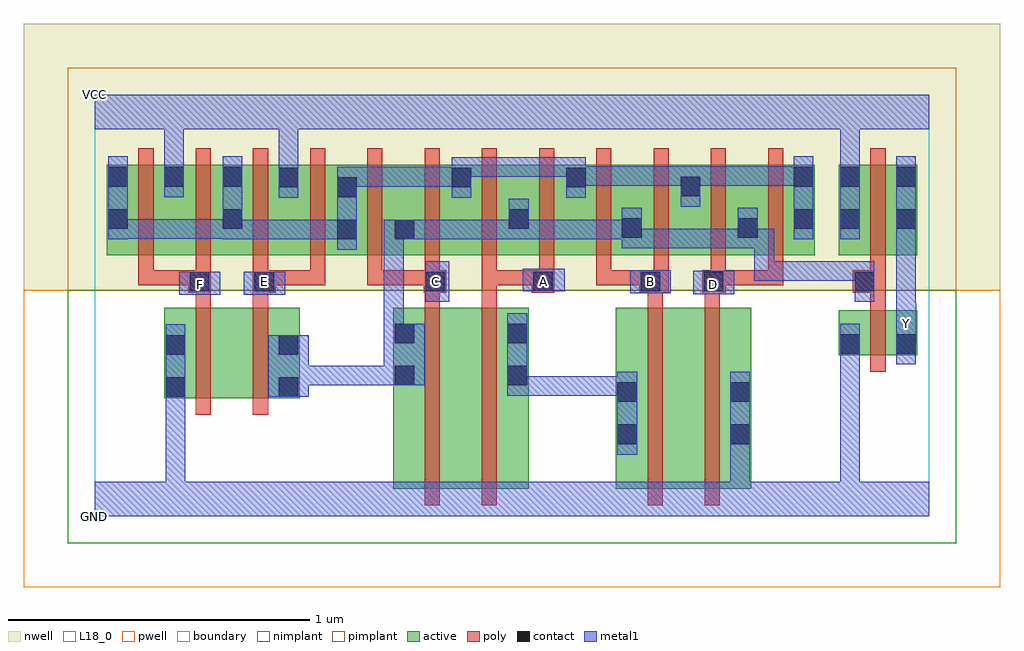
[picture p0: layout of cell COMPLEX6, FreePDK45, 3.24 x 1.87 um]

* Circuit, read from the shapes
.subckt COMPLEX6 A B C D E F GND VCC Y
M1 n1 F GND VSUBS nfet w=0.3u l=0.05u
M2 n2 E n1 VSUBS nfet w=0.3u l=0.05u
M3 n3 C n2 VSUBS nfet w=0.6u l=0.05u
M4 n4 A n3 VSUBS nfet w=0.6u l=0.05u
M5 n5 B n4 VSUBS nfet w=0.6u l=0.05u
M6 GND D n5 VSUBS nfet w=0.6u l=0.05u
M7 Y n2 GND VSUBS nfet w=0.15u l=0.05u
M8 VCC F n6 n7 pfet w=0.3u l=0.05u m=2
M9 VCC E n6 n7 pfet w=0.3u l=0.05u m=2
M10 n2 C n6 n7 pfet w=0.3u l=0.05u m=2
M11 n2 A n6 n7 pfet w=0.3u l=0.05u m=2
M12 n2 B n6 n7 pfet w=0.3u l=0.05u m=2
M13 n2 D n6 n7 pfet w=0.3u l=0.05u m=2
M14 Y n2 VCC n7 pfet w=0.3u l=0.05u
.ends

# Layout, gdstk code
import gdstk
lib = gdstk.Library(unit=1e-6, precision=1e-09)
def R(c, l, rs):  # rectangles x0, y0, x1, y1
    for r in rs: c.add(gdstk.rectangle(r[:2], r[2:], *l))
def A(c, l, x, y, w, h, nx, ny, dx, dy):  # array of equal rectangles
    R(c, l, [(x+i*dx, y+j*dy, x+i*dx+w, y+j*dy+h) for i in range(nx) for j in range(ny)])
active = (1, 0)
pwell = (2, 0)
nwell = (3, 0)
nimplant = (4, 0)
pimplant = (5, 0)
poly = (9, 0)
contact = (10, 0)
metal1 = (11, 0)
L18_0 = (18, 0)
boundary = (235, 0)

complex6 = lib.new_cell('COMPLEX6')
A(complex6, active, 0.8, 0.867, 0.265, 0.3, 4, 1, 0.19, 0)
R(complex6, active, [(0.99,0.092,1.215,0.692), (1.215,0.092,1.44,0.692), (1.73,0.092,1.955,0.692), (1.955,0.092,2.18,0.692), (2.105,0.092,2.18,0.692), (0.99,0.095,1.095,0.692), (1.365,0.095,1.44,0.692), (1.73,0.095,1.835,0.692), (0.23,0.392,0.305,0.692), (0.23,0.392,0.455,0.692), (0.455,0.392,0.68,0.692), (0.605,0.392,0.68,0.692), (2.47,0.535,2.545,0.685), (2.47,0.535,2.73,0.685), (2.655,0.535,2.73,0.685), (0.04,0.867,0.115,1.167), (0.04,0.867,0.3,1.167), (0.225,0.867,0.3,1.167), (0.225,0.867,0.495,1.167), (0.42,0.867,0.495,1.167), (0.42,0.867,0.68,1.167), (0.605,0.867,0.68,1.167), (0.605,0.867,0.875,1.167), (0.8,0.867,0.875,1.167), (1.56,0.867,1.635,1.167), (1.56,0.867,1.82,1.167), (1.745,0.867,2.015,1.167), (1.94,0.867,2.205,1.167), (2.13,0.867,2.39,1.167), (2.315,0.867,2.39,1.167), (2.47,0.867,2.545,1.167), (2.47,0.867,2.73,1.167), (2.655,0.867,2.73,1.165), (0.99,0.915,1.065,1.07), (1.745,0.92,1.82,1.07), (2.13,0.92,2.205,1.07), (1.37,0.95,1.445,1.07), (1.18,0.995,1.255,1.167), (1.94,0.995,2.015,1.167)])
R(complex6, pwell, [(-0.235,-0.235,3.005,0.75)])
R(complex6, nwell, [(-0.235,0.75,3.005,1.635)])
R(complex6, nimplant, [(-0.09,-0.09,2.86,0.75)])
R(complex6, pimplant, [(-0.09,0.75,2.86,1.49)])
A(complex6, poly, 0.145, 0.767, 0.05, 0.095, 12, 1, 0.19, 0)
A(complex6, poly, 0.145, 0.812, 0.05, 0.41, 12, 1, 0.19, 0)
R(complex6, poly, [(1.095,0.037,1.145,0.747), (1.285,0.037,1.335,0.747), (1.835,0.037,1.885,0.747), (2.025,0.037,2.075,0.747), (0.335,0.337,0.385,0.747), (0.525,0.337,0.575,0.747), (2.575,0.48,2.625,0.74), (2.575,0.69,2.625,0.792), (0.335,0.697,0.385,0.792), (0.525,0.697,0.575,0.792), (1.095,0.697,1.145,0.792), (1.285,0.697,1.335,0.817), (1.835,0.697,1.885,0.792), (2.025,0.697,2.075,0.792), (0.31,0.742,0.385,0.817), (0.525,0.742,0.6,0.817), (1.092,0.742,1.167,0.817), (1.45,0.742,1.525,0.817), (1.807,0.742,1.905,0.817), (2.017,0.742,2.095,0.817), (2.517,0.742,2.625,0.817), (0.145,0.767,0.195,0.817), (0.145,0.767,0.195,0.817), (0.145,0.767,0.195,0.817), (0.145,0.767,0.36,0.817), (0.55,0.767,0.765,0.817), (0.715,0.767,0.765,0.817), (0.715,0.767,0.765,0.817), (0.715,0.767,0.765,0.817), (0.905,0.767,0.955,0.817), (0.905,0.767,0.955,0.817), (0.905,0.767,0.955,0.817), (0.905,0.767,1.142,0.817), (1.285,0.767,1.335,0.817), (1.285,0.767,1.335,0.817), (1.285,0.767,1.335,0.817), (1.285,0.767,1.5,0.817), (1.665,0.767,1.715,0.817), (1.665,0.767,1.715,0.817), (1.665,0.767,1.715,0.817), (1.665,0.767,1.857,0.817), (2.045,0.767,2.285,0.817), (2.045,0.767,2.095,0.817), (2.045,0.767,2.095,0.817), (2.235,0.767,2.285,0.817), (2.575,0.767,2.625,0.862), (2.575,0.812,2.625,1.222)])
R(complex6, contact, [(1.735,0.24,1.8,0.305), (2.11,0.24,2.175,0.305), (1.735,0.38,1.8,0.445), (2.11,0.38,2.175,0.445), (0.235,0.397,0.3,0.462), (0.61,0.397,0.675,0.462), (0.995,0.435,1.06,0.5), (1.37,0.435,1.435,0.5), (0.235,0.537,0.3,0.602), (0.61,0.537,0.675,0.602), (2.475,0.54,2.54,0.605), (2.66,0.54,2.725,0.605), (0.995,0.575,1.06,0.64), (1.37,0.575,1.435,0.64), (0.315,0.747,0.38,0.812), (0.53,0.747,0.595,0.812), (1.097,0.747,1.162,0.812), (1.455,0.747,1.52,0.812), (1.812,0.747,1.877,0.812), (2.022,0.747,2.087,0.812), (2.522,0.747,2.587,0.812), (0.805,0.92,0.87,0.985), (0.995,0.92,1.06,0.985), (1.75,0.925,1.815,0.99), (2.135,0.925,2.2,0.99), (0.045,0.955,0.11,1.02), (0.425,0.955,0.49,1.02), (1.375,0.955,1.44,1.02), (2.32,0.955,2.385,1.02), (2.475,0.955,2.54,1.02), (2.66,0.955,2.725,1.02), (0.805,1.06,0.87,1.125), (1.945,1.062,2.01,1.127), (0.61,1.092,0.675,1.157), (1.185,1.092,1.25,1.157), (1.565,1.092,1.63,1.157), (0.045,1.095,0.11,1.16), (0.23,1.095,0.295,1.16), (0.425,1.095,0.49,1.16), (2.32,1.095,2.385,1.16), (2.475,1.095,2.54,1.16), (2.66,1.095,2.725,1.16)])
R(complex6, metal1, [(0,0,2.77,0.115), (0.235,0.05,0.3,0.427), (2.11,0.05,2.175,0.27), (2.475,0.05,2.54,0.57), (1.735,0.205,1.8,0.48), (2.11,0.205,2.175,0.48), (0.235,0.362,0.3,0.637), (0.235,0.362,0.3,0.427), (0.235,0.362,0.3,0.427), (0.235,0.362,0.3,0.427), (0.235,0.362,0.3,0.427), (0.575,0.397,0.71,0.602), (1.37,0.4,1.435,0.675), (1.37,0.4,1.435,0.465), (1.37,0.4,1.435,0.465), (1.37,0.4,1.63,0.465), (1.565,0.4,1.63,0.465), (1.565,0.4,1.63,0.465), (1.565,0.4,1.63,0.465), (1.565,0.4,1.8,0.465), (0.645,0.435,0.71,0.5), (0.645,0.435,0.71,0.5), (0.645,0.435,0.87,0.5), (0.805,0.435,0.87,0.5), (0.805,0.435,0.87,0.5), (0.805,0.435,0.87,0.5), (0.805,0.435,1.025,0.5), (0.96,0.435,1.095,0.64), (2.475,0.505,2.54,0.57), (2.475,0.505,2.54,0.57), (2.475,0.505,2.54,0.57), (2.475,0.505,2.54,0.57), (2.475,0.505,2.54,0.57), (2.475,0.505,2.54,0.57), (2.475,0.505,2.54,0.64), (2.66,0.505,2.725,0.64), (2.66,0.572,2.727,0.707), (0.96,0.575,1.025,0.64), (0.96,0.575,1.025,0.985), (2.66,0.575,2.725,0.64), (2.66,0.642,2.725,0.985), (1.097,0.712,1.177,0.847), (2.522,0.712,2.587,0.847), (0.28,0.735,0.417,0.812), (0.495,0.735,0.632,0.812), (1.987,0.737,2.122,0.815), (1.777,0.74,1.912,0.817), (1.42,0.747,1.56,0.822), (2.19,0.782,2.44,0.847), (2.19,0.782,2.255,0.955), (2.375,0.782,2.44,0.847), (2.375,0.782,2.587,0.847), (2.522,0.782,2.587,0.847), (2.522,0.782,2.587,0.847), (2.522,0.782,2.587,0.847), (2.522,0.782,2.587,0.847), (0.805,0.885,0.87,1.16), (1.75,0.89,1.815,0.955), (1.75,0.89,1.815,0.955), (1.75,0.89,1.815,1.025), (1.75,0.89,1.952,0.955), (1.887,0.89,1.952,0.955), (1.887,0.89,2.117,0.955), (2.052,0.89,2.117,0.955), (2.052,0.89,2.2,0.955), (2.135,0.89,2.2,1.025), (2.135,0.89,2.255,0.955), (0.045,0.92,0.11,1.195), (0.425,0.92,0.49,1.195), (0.425,0.92,0.49,0.985), (0.425,0.92,0.49,0.985), (0.425,0.92,0.732,0.985), (0.667,0.92,0.732,0.985), (0.667,0.92,0.732,0.985), (0.667,0.92,0.732,0.985), (0.667,0.92,0.87,0.985), (0.96,0.92,1.025,0.985), (0.96,0.92,1.095,0.985), (1.03,0.92,1.095,0.985), (1.03,0.92,1.095,0.985), (1.03,0.92,1.297,0.985), (1.232,0.92,1.297,0.985), (1.232,0.92,1.297,0.985), (1.232,0.92,1.297,0.985), (1.232,0.92,1.44,0.985), (1.375,0.92,1.44,0.985), (1.375,0.92,1.44,0.985), (1.375,0.92,1.44,1.055), (1.375,0.92,1.662,0.985), (1.597,0.92,1.662,0.985), (1.597,0.92,1.662,0.985), (1.597,0.92,1.662,0.985), (1.597,0.92,1.815,0.985), (2.32,0.92,2.385,1.195), (2.475,0.92,2.54,1.195), (2.66,0.92,2.725,1.195), (0.045,0.922,0.11,0.987), (0.045,0.922,0.11,0.987), (0.045,0.922,0.352,0.987), (0.287,0.922,0.352,0.987), (0.287,0.922,0.352,0.987), (0.287,0.922,0.352,0.987), (0.287,0.922,0.49,0.987), (1.945,1.027,2.01,1.162), (0.61,1.057,0.675,1.192), (1.185,1.057,1.25,1.192), (1.565,1.057,1.63,1.192), (0.23,1.06,0.295,1.195), (0.805,1.095,0.87,1.16), (0.805,1.095,0.87,1.16), (0.805,1.095,0.87,1.16), (0.805,1.095,0.87,1.16), (0.805,1.095,1.007,1.16), (0.942,1.095,1.007,1.16), (0.942,1.095,1.007,1.16), (0.942,1.095,1.007,1.16), (0.942,1.095,1.25,1.16), (1.565,1.097,1.63,1.162), (1.565,1.097,1.63,1.162), (1.565,1.097,1.815,1.162), (1.75,1.097,1.815,1.162), (1.75,1.097,1.915,1.162), (1.85,1.097,1.915,1.162), (1.85,1.097,2.01,1.162), (1.945,1.097,2.052,1.162), (1.987,1.097,2.052,1.162), (1.987,1.097,2.2,1.162), (2.135,1.097,2.2,1.162), (2.135,1.097,2.385,1.162), (2.32,1.097,2.385,1.162), (2.32,1.097,2.385,1.162), (0.61,1.127,0.675,1.35), (1.185,1.127,1.25,1.192), (1.185,1.127,1.25,1.192), (1.185,1.127,1.492,1.192), (1.427,1.127,1.492,1.192), (1.427,1.127,1.492,1.192), (1.427,1.127,1.492,1.192), (1.427,1.127,1.63,1.192), (0.23,1.13,0.295,1.195), (0.23,1.13,0.295,1.195), (0.23,1.13,0.295,1.35), (2.475,1.13,2.54,1.35), (0,1.285,2.77,1.4), (0.61,1.285,0.675,1.35), (0.61,1.285,0.675,1.35), (2.475,1.285,2.54,1.35), (2.475,1.285,2.54,1.35)])
R(complex6, L18_0, [(0,0,2.77,0.115), (0.235,0.05,0.3,0.427), (2.11,0.05,2.175,0.27), (2.475,0.05,2.54,0.57), (2.11,0.205,2.175,0.48), (0.235,0.362,0.3,0.427), (0.235,0.362,0.3,0.427), (0.235,0.362,0.3,0.427), (0.235,0.362,0.3,0.427), (0.235,0.362,0.3,0.637), (2.475,0.505,2.54,0.57), (2.475,0.505,2.54,0.57), (2.475,0.505,2.54,0.57), (2.475,0.505,2.54,0.57), (2.475,0.505,2.54,0.57), (2.475,0.505,2.54,0.57), (2.475,0.505,2.54,0.64), (2.66,0.505,2.725,0.64), (2.66,0.572,2.727,0.707), (2.66,0.575,2.725,0.64), (2.662,0.607,2.727,0.672), (2.66,0.642,2.725,0.985), (1.097,0.712,1.177,0.847), (0.28,0.735,0.417,0.812), (0.495,0.735,0.632,0.812), (0.317,0.737,0.382,0.802), (1.987,0.737,2.122,0.815), (2.022,0.737,2.087,0.802), (1.777,0.74,1.912,0.817), (0.532,0.747,0.597,0.812), (1.097,0.747,1.162,0.812), (1.42,0.747,1.56,0.822), (1.457,0.747,1.522,0.812), (1.812,0.747,1.877,0.812), (2.475,0.92,2.54,1.195), (2.66,0.92,2.725,1.195), (0.61,1.057,0.675,1.192), (0.23,1.06,0.295,1.195), (0.61,1.127,0.675,1.35), (0.23,1.13,0.295,1.195), (0.23,1.13,0.295,1.195), (0.23,1.13,0.295,1.35), (2.475,1.13,2.54,1.35), (0,1.285,2.77,1.4), (0.61,1.285,0.675,1.35), (0.61,1.285,0.675,1.35), (2.475,1.285,2.54,1.35), (2.475,1.285,2.54,1.35)])
R(complex6, boundary, [(0,0,2.77,1.4)])
complex6.add(gdstk.Label('A', (1.49,0.78), layer=11, texttype=0))
complex6.add(gdstk.Label('B', (1.845,0.78), layer=11, texttype=0))
complex6.add(gdstk.Label('C', (1.13,0.78), layer=11, texttype=0))
complex6.add(gdstk.Label('D', (2.055,0.77), layer=11, texttype=0))
complex6.add(gdstk.Label('E', (0.565,0.78), layer=11, texttype=0))
complex6.add(gdstk.Label('F', (0.35,0.77), layer=11, texttype=0))
complex6.add(gdstk.Label('Y', (2.695,0.64), layer=11, texttype=0))
complex6.add(gdstk.Label('VCC', (0,1.4), layer=11, texttype=0))
complex6.add(gdstk.Label('GND', (0,0), layer=11, texttype=0))

lib.write_gds('COMPLEX6.gds')
